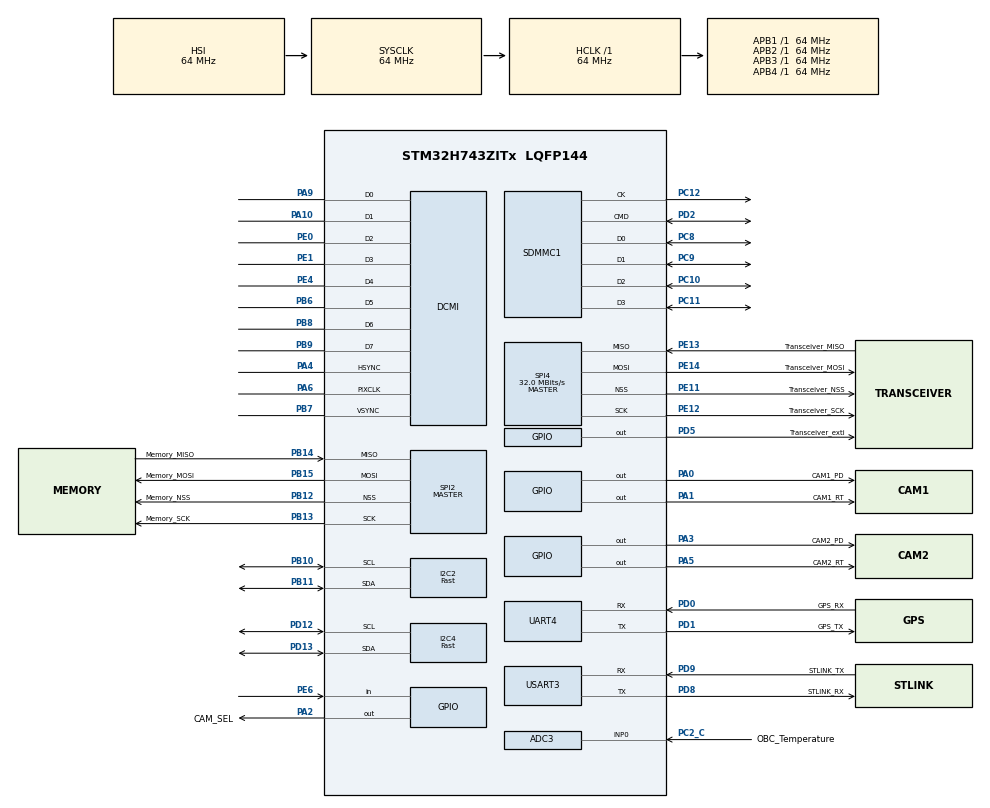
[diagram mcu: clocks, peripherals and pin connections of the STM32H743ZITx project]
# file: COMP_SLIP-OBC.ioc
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ADC3.Channel-0\#ChannelRegularConversion=ADC_CHANNEL_0
ADC3.NbrOfConversionFlag=1
ADC3.OffsetNumber-0\#ChannelRegularConversion=ADC_OFFSET_NONE
ADC3.OffsetSignedSaturation-0\#ChannelRegularConversion=DISABLE
ADC3.Rank-0\#ChannelRegularConversion=1
ADC3.SamplingTime-0\#ChannelRegularConversion=ADC_SAMPLETIME_1CYCLE_5
DCMI.JPEGMode=DCMI_JPEG_ENABLE
Dma.DCMI.0.Direction=DMA_PERIPH_TO_MEMORY
Dma.DCMI.0.EventEnable=DISABLE
Dma.DCMI.0.FIFOMode=DMA_FIFOMODE_DISABLE
Dma.DCMI.0.Instance=DMA1_Stream0
Dma.DCMI.0.MemDataAlignment=DMA_MDATAALIGN_WORD
Dma.DCMI.0.MemInc=DMA_MINC_ENABLE
Dma.DCMI.0.Mode=DMA_NORMAL
Dma.DCMI.0.PeriphDataAlignment=DMA_PDATAALIGN_WORD
Dma.DCMI.0.PeriphInc=DMA_PINC_DISABLE
Dma.DCMI.0.Polarity=HAL_DMAMUX_REQ_GEN_RISING
Dma.DCMI.0.Priority=DMA_PRIORITY_HIGH
Dma.DCMI.0.RequestNumber=1
Dma.DCMI.0.SignalID=NONE
Dma.DCMI.0.SyncEnable=DISABLE
Dma.DCMI.0.SyncPolarity=HAL_DMAMUX_SYNC_NO_EVENT
Dma.DCMI.0.SyncRequestNumber=1
Dma.DCMI.0.SyncSignalID=NONE
Dma.Request0=DCMI
FATFS.BSP.number=1
FATFS0.BSP.STBoard=false
FATFS0.BSP.api=Unknown
FATFS0.BSP.instance=PE6
FATFS0.BSP.ip=GPIO
FATFS0.BSP.mode=Input
FATFS0.BSP.name=Detect_SDIO
FATFS0.BSP.solution=PE6
FREERTOS.BinarySemaphores01=myBinarySem01,Static,myBinarySem01ControlBlock,Available
FREERTOS.Queues01=receivequeue,8,FIFOsize,0,Dynamic,NULL,NULL
FREERTOS.Tasks01=defaultTask,24,128,StartDefaultTask,Default,NULL,Dynamic,NULL,NULL
I2C2.I2C_Speed_Mode=I2C_Fast
I2C2.Timing=0x00602173
I2C4.I2C_Speed_Mode=I2C_Fast
I2C4.Timing=0x00602173
Mcu.Family=STM32H7
Mcu.Name=STM32H743ZITx
Mcu.Package=LQFP144
NVIC.DCMI_IRQn=true\:5\:0\:false\:false\:true\:true\:true\:true\:true
NVIC.DMA1_Stream0_IRQn=true\:5\:0\:false\:false\:true\:true\:false\:true\:true
NVIC.PriorityGroup=NVIC_PRIORITYGROUP_4
NVIC.SDMMC1_IRQn=true\:5\:0\:false\:false\:true\:true\:true\:true\:true
PA0.GPIO_Label=CAM1_PD
PA0.Signal=GPIO_Output
PA1.GPIO_Label=CAM1_RT
PA1.PinState=GPIO_PIN_SET
PA1.Signal=GPIO_Output
PA10.Mode=Slave_8_bits_External_Synchro
PA10.Signal=DCMI_D1
PA13\ (JTMS/SWDIO).Mode=JTAG_5_pins
PA13\ (JTMS/SWDIO).Signal=DEBUG_JTMS-SWDIO
PA14\ (JTCK/SWCLK).Mode=JTAG_5_pins
PA14\ (JTCK/SWCLK).Signal=DEBUG_JTCK-SWCLK
PA15\ (JTDI).Mode=JTAG_5_pins
PA15\ (JTDI).Signal=DEBUG_JTDI
PA2.GPIO_Label=CAM_SEL
PA2.Signal=GPIO_Output
PA3.GPIO_Label=CAM2_PD
PA3.Signal=GPIO_Output
PA4.Mode=Slave_8_bits_External_Synchro
PA4.Signal=DCMI_HSYNC
PA5.GPIO_Label=CAM2_RT
PA5.PinState=GPIO_PIN_SET
PA5.Signal=GPIO_Output
PA6.Mode=Slave_8_bits_External_Synchro
PA6.Signal=DCMI_PIXCLK
PA9.Mode=Slave_8_bits_External_Synchro
PA9.Signal=DCMI_D0
PB10.Mode=I2C
PB10.Signal=I2C2_SCL
PB11.Mode=I2C
PB11.Signal=I2C2_SDA
PB12.GPIO_Label=Memory_NSS
PB12.Mode=NSS_Signal_Hard_Output
PB12.Signal=SPI2_NSS
PB13.GPIO_Label=Memory_SCK
PB13.Mode=Full_Duplex_Master
PB13.Signal=SPI2_SCK
PB14.GPIO_Label=Memory_MISO
PB14.Mode=Full_Duplex_Master
PB14.Signal=SPI2_MISO
PB15.GPIO_Label=Memory_MOSI
PB15.Mode=Full_Duplex_Master
PB15.Signal=SPI2_MOSI
PB3\ (JTDO/TRACESWO).Mode=JTAG_5_pins
PB3\ (JTDO/TRACESWO).Signal=DEBUG_JTDO-SWO
PB4\ (NJTRST).Mode=JTAG_5_pins
PB4\ (NJTRST).Signal=DEBUG_JTRST
PB6.Mode=Slave_8_bits_External_Synchro
PB6.Signal=DCMI_D5
PB7.Mode=Slave_8_bits_External_Synchro
PB7.Signal=DCMI_VSYNC
PB8.Mode=Slave_8_bits_External_Synchro
PB8.Signal=DCMI_D6
PB9.Mode=Slave_8_bits_External_Synchro
PB9.Signal=DCMI_D7
PC10.Mode=SD_4_bits_Wide_bus
PC10.Signal=SDMMC1_D2
PC11.Mode=SD_4_bits_Wide_bus
PC11.Signal=SDMMC1_D3
PC12.Mode=SD_4_bits_Wide_bus
PC12.Signal=SDMMC1_CK
PC14-OSC32_IN\ (OSC32_IN).Mode=LSE-External-Oscillator
PC14-OSC32_IN\ (OSC32_IN).Signal=RCC_OSC32_IN
PC15-OSC32_OUT\ (OSC32_OUT).Mode=LSE-External-Oscillator
PC15-OSC32_OUT\ (OSC32_OUT).Signal=RCC_OSC32_OUT
PC2_C.GPIO_Label=OBC_Temperature
PC2_C.Mode=IN0-Single-Ended
PC2_C.Signal=ADC3_INP0
PC8.Mode=SD_4_bits_Wide_bus
PC8.Signal=SDMMC1_D0
PC9.Mode=SD_4_bits_Wide_bus
PC9.Signal=SDMMC1_D1
PD0.GPIO_Label=GPS_RX
PD0.Mode=Asynchronous
PD0.Signal=UART4_RX
PD1.GPIO_Label=GPS_TX
PD1.Mode=Asynchronous
PD1.Signal=UART4_TX
PD12.Mode=I2C
PD12.Signal=I2C4_SCL
PD13.Mode=I2C
PD13.Signal=I2C4_SDA
PD2.Mode=SD_4_bits_Wide_bus
PD2.Signal=SDMMC1_CMD
PD5.GPIO_Label=Transceiver_exti
PD5.Signal=GPIO_Output
PD8.GPIO_Label=STLINK_RX
PD8.Mode=Asynchronous
PD8.Signal=USART3_TX
PD9.GPIO_Label=STLINK_TX
PD9.Mode=Asynchronous
PD9.Signal=USART3_RX
PE0.Mode=Slave_8_bits_External_Synchro
PE0.Signal=DCMI_D2
PE1.Mode=Slave_8_bits_External_Synchro
PE1.Signal=DCMI_D3
PE11.GPIO_Label=Transceiver_NSS
PE11.Mode=NSS_Signal_Hard_Output
PE11.Signal=SPI4_NSS
PE12.GPIO_Label=Transceiver_SCK
PE12.Mode=Full_Duplex_Master
PE12.Signal=SPI4_SCK
PE13.GPIO_Label=Transceiver_MISO
PE13.Mode=Full_Duplex_Master
PE13.Signal=SPI4_MISO
PE14.GPIO_Label=Transceiver_MOSI
PE14.Mode=Full_Duplex_Master
PE14.Signal=SPI4_MOSI
PE4.Mode=Slave_8_bits_External_Synchro
PE4.Signal=DCMI_D4
PE6.Signal=GPIO_Input
PH0-OSC_IN\ (PH0).Mode=HSE-External-Oscillator
PH0-OSC_IN\ (PH0).Signal=RCC_OSC_IN
PH1-OSC_OUT\ (PH1).Mode=HSE-External-Oscillator
PH1-OSC_OUT\ (PH1).Signal=RCC_OSC_OUT
ProjectManager.HeapSize=0x400
ProjectManager.StackSize=0x800
ProjectManager.TargetToolchain=STM32CubeIDE
RCC.ADCFreq_Value=76000000
RCC.APB1Freq_Value=64000000
RCC.APB2Freq_Value=64000000
RCC.APB3Freq_Value=64000000
RCC.APB4Freq_Value=64000000
RCC.CortexFreq_Value=64000000
RCC.DIVM1=1
RCC.DIVM2=1
RCC.DIVN1=19
RCC.DIVN2=19
RCC.DIVQ1=3
RCC.HCLKFreq_Value=64000000
RCC.HSE_VALUE=8000000
RCC.PLL2FRACN=0
RCC.PLLFRACN=0
RCC.PLLSourceVirtual=RCC_PLLSOURCE_HSE
RCC.PWR_Regulator_Voltage_Scale=PWR_REGULATOR_VOLTAGE_SCALE2
RCC.SYSCLKFreq_VALUE=64000000
RCC.USBFreq_Value=50666666.666666664
SPI2.CalculateBaudRate=25.333332 MBits/s
SPI2.DataSize=SPI_DATASIZE_8BIT
SPI2.Direction=SPI_DIRECTION_2LINES
SPI2.Mode=SPI_MODE_MASTER
SPI2.VirtualNSS=VM_NSSHARD
SPI2.VirtualType=VM_MASTER
SPI4.CalculateBaudRate=32.0 MBits/s
SPI4.Direction=SPI_DIRECTION_2LINES
SPI4.Mode=SPI_MODE_MASTER
SPI4.VirtualNSS=VM_NSSHARD
SPI4.VirtualType=VM_MASTER
USART3.VirtualMode-Asynchronous=VM_ASYNC
VP_FATFS_VS_SDIO.Mode=SDIO
VP_FREERTOS_VS_CMSIS_V2.Mode=CMSIS_V2
board=NUCLEO-H743ZI2

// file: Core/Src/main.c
/* USER CODE BEGIN Header */
/**
 ******************************************************************************
 * @file           : main.c
 * @brief          : Main program body
 ******************************************************************************
 * @attention
 *
 * Copyright (c) 2025 STMicroelectronics.
 * All rights reserved.
 *
 * This software is licensed under terms that can be found in the LICENSE file
 * in the root directory of this software component.
 * If no LICENSE file comes with this software, it is provided AS-IS.
 *
 ******************************************************************************
 */
/* USER CODE END Header */
#include "main.h"
#include "cmsis_os.h"
#include "fatfs.h"

/* USER CODE BEGIN Includes */
#include "retarget.h"

/* USER CODE END Includes */

typedef StaticSemaphore_t osStaticSemaphoreDef_t;

ADC_HandleTypeDef hadc3;

DCMI_HandleTypeDef hdcmi;
DMA_HandleTypeDef hdma_dcmi;

I2C_HandleTypeDef hi2c2;
I2C_HandleTypeDef hi2c4;

SD_HandleTypeDef hsd1;

SPI_HandleTypeDef hspi2;
SPI_HandleTypeDef hspi4;

UART_HandleTypeDef huart4;
UART_HandleTypeDef huart3;

/* Definitions for defaultTask */
osThreadId_t defaultTaskHandle;
const osThreadAttr_t defaultTask_attributes = {
  .name = "defaultTask",
  .stack_size = 128 * 4,
  .priority = (osPriority_t) osPriorityNormal,
};
/* Definitions for receivequeue */
osMessageQueueId_t receivequeueHandle;
const osMessageQueueAttr_t receivequeue_attributes = {
  .name = "receivequeue"
};
/* Definitions for myBinarySem01 */
osSemaphoreId_t myBinarySem01Handle;
osStaticSemaphoreDef_t myBinarySem01ControlBlock;
const osSemaphoreAttr_t myBinarySem01_attributes = {
  .name = "myBinarySem01",
  .cb_mem = &myBinarySem01ControlBlock,
  .cb_size = sizeof(myBinarySem01ControlBlock),
};
/* USER CODE BEGIN PV */
TimerHandle_t retransmission_timer;
SemaphoreHandle_t image_mutex;
char buf[100];

/* USER CODE END PV */

void SystemClock_Config(void);
static void MX_GPIO_Init(void);
static void MX_DMA_Init(void);
static void MX_USART3_UART_Init(void);
static void MX_I2C2_Init(void);
static void MX_I2C4_Init(void);
static void MX_DCMI_Init(void);
static void MX_SDMMC1_SD_Init(void);
static void MX_ADC3_Init(void);
static void MX_UART4_Init(void);
static void MX_SPI2_Init(void);
static void MX_SPI4_Init(void);
void StartDefaultTask(void *argument);

int main(void)
{

  /* MCU Configuration--------------------------------------------------------*/

  /* Reset of all peripherals, Initializes the Flash interface and the Systick. */
  HAL_Init();

  /* Configure the system clock */
  SystemClock_Config();

  /* Initialize all configured peripherals */
  MX_GPIO_Init();
  MX_DMA_Init();
  MX_USART3_UART_Init();
  MX_I2C2_Init();
  MX_I2C4_Init();
  MX_DCMI_Init();
  MX_SDMMC1_SD_Init();
  MX_FATFS_Init();
  MX_ADC3_Init();
  MX_UART4_Init();
  MX_SPI2_Init();
  MX_SPI4_Init();
  /* USER CODE BEGIN 2 */
  RetargetInit(&huart3);

  /* USER CODE END 2 */

  /* Init scheduler */
  osKernelInitialize();

  /* Create the semaphores(s) */
  /* creation of myBinarySem01 */
  myBinarySem01Handle = osSemaphoreNew(1, 1, &myBinarySem01_attributes);

  /* USER CODE BEGIN RTOS_TIMERS */
  /* start timers, add new ones, ... */
  retransmission_timer = xTimerCreate("Retransmission timer", pdMS_TO_TICKS(ACK_RECV_TIMEOUT), pdTRUE, (void *)0, vRetransmissionTimerCallback);
  /* USER CODE END RTOS_TIMERS */

  /* Create the queue(s) */
  /* creation of receivequeue */
  receivequeueHandle = osMessageQueueNew (8, sizeof(FIFOsize), &receivequeue_attributes);

  /* Create the thread(s) */
  /* creation of defaultTask */
  defaultTaskHandle = osThreadNew(StartDefaultTask, NULL, &defaultTask_attributes);

  /* USER CODE BEGIN RTOS_THREADS */

  image_mutex = xSemaphoreCreateMutex();

  // OBC Tasks:

  xTaskCreate(obc_notifications, "OBC Notifications", configMINIMAL_STACK_SIZE, NULL, tskIDLE_PRIORITY + 1, NULL);
  xTaskCreate(data_task, "Data Task", configMINIMAL_STACK_SIZE, NULL, tskIDLE_PRIORITY + 2, NULL);
  xTaskCreate(low_power_task, "Lower Power Task", configMINIMAL_STACK_SIZE, NULL, tskIDLE_PRIORITY + 10, NULL); // Highest priority

  // TTC Tasks:

  xTaskCreate(Task_receiveLL, "TTC Receive", configMINIMAL_STACK_SIZE, NULL, tskIDLE_PRIORITY + 3, NULL);
  xTaskCreate(ttc_notifications, "TTC Notifications", configMINIMAL_STACK_SIZE, NULL, tskIDLE_PRIORITY + 2, NULL);
  xTaskCreate(receive, "High Level Receive", configMINIMAL_STACK_SIZE, NULL, tskIDLE_PRIORITY + 2, NULL);
  /* add threads, ... */
  /* USER CODE END RTOS_THREADS */

  /* Start scheduler */
  osKernelStart();

  /* We should never get here as control is now taken by the scheduler */

  /* Infinite loop */
  while (1)
  {

    /* USER CODE BEGIN 3 */
      printf("\r\nYour name: ");
      scanf("%s", buf);
      printf("\r\nHello, %s!\r\n", buf);
  }
  /* USER CODE END 3 */
}

void SystemClock_Config(void)
{
  RCC_OscInitTypeDef RCC_OscInitStruct = {0};
  RCC_ClkInitTypeDef RCC_ClkInitStruct = {0};

  /** Supply configuration update enable
  */
  HAL_PWREx_ConfigSupply(PWR_LDO_SUPPLY);

  /** Configure the main internal regulator output voltage
  */
  __HAL_PWR_VOLTAGESCALING_CONFIG(PWR_REGULATOR_VOLTAGE_SCALE2);

  while(!__HAL_PWR_GET_FLAG(PWR_FLAG_VOSRDY)) {}

  /** Initializes the RCC Oscillators according to the specified parameters
  * in the RCC_OscInitTypeDef structure.
  */
  RCC_OscInitStruct.OscillatorType = RCC_OSCILLATORTYPE_HSI|RCC_OSCILLATORTYPE_HSE;
  RCC_OscInitStruct.HSEState = RCC_HSE_ON;
  RCC_OscInitStruct.HSIState = RCC_HSI_DIV1;
  RCC_OscInitStruct.HSICalibrationValue = RCC_HSICALIBRATION_DEFAULT;
  RCC_OscInitStruct.PLL.PLLState = RCC_PLL_ON;
  RCC_OscInitStruct.PLL.PLLSource = RCC_PLLSOURCE_HSE;
  RCC_OscInitStruct.PLL.PLLM = 1;
  RCC_OscInitStruct.PLL.PLLN = 19;
  RCC_OscInitStruct.PLL.PLLP = 2;
  RCC_OscInitStruct.PLL.PLLQ = 3;
  RCC_OscInitStruct.PLL.PLLR = 2;
  RCC_OscInitStruct.PLL.PLLRGE = RCC_PLL1VCIRANGE_3;
  RCC_OscInitStruct.PLL.PLLVCOSEL = RCC_PLL1VCOMEDIUM;
  RCC_OscInitStruct.PLL.PLLFRACN = 0;
  if (HAL_RCC_OscConfig(&RCC_OscInitStruct) != HAL_OK)
  {
    Error_Handler();
  }

  /** Initializes the CPU, AHB and APB buses clocks
  */
  RCC_ClkInitStruct.ClockType = RCC_CLOCKTYPE_HCLK|RCC_CLOCKTYPE_SYSCLK
                              |RCC_CLOCKTYPE_PCLK1|RCC_CLOCKTYPE_PCLK2
                              |RCC_CLOCKTYPE_D3PCLK1|RCC_CLOCKTYPE_D1PCLK1;
  RCC_ClkInitStruct.SYSCLKSource = RCC_SYSCLKSOURCE_HSI;
  RCC_ClkInitStruct.SYSCLKDivider = RCC_SYSCLK_DIV1;
  RCC_ClkInitStruct.AHBCLKDivider = RCC_HCLK_DIV1;
  RCC_ClkInitStruct.APB3CLKDivider = RCC_APB3_DIV1;
  RCC_ClkInitStruct.APB1CLKDivider = RCC_APB1_DIV1;
  RCC_ClkInitStruct.APB2CLKDivider = RCC_APB2_DIV1;
  RCC_ClkInitStruct.APB4CLKDivider = RCC_APB4_DIV1;

  if (HAL_RCC_ClockConfig(&RCC_ClkInitStruct, FLASH_LATENCY_1) != HAL_OK)
  {
    Error_Handler();
  }
}

static void MX_ADC3_Init(void)
{

  ADC_ChannelConfTypeDef sConfig = {0};

  /** Common config
  */
  hadc3.Instance = ADC3;
  hadc3.Init.ClockPrescaler = ADC_CLOCK_ASYNC_DIV2;
  hadc3.Init.Resolution = ADC_RESOLUTION_16B;
  hadc3.Init.ScanConvMode = ADC_SCAN_DISABLE;
  hadc3.Init.EOCSelection = ADC_EOC_SINGLE_CONV;
  hadc3.Init.LowPowerAutoWait = DISABLE;
  hadc3.Init.ContinuousConvMode = DISABLE;
  hadc3.Init.NbrOfConversion = 1;
  hadc3.Init.DiscontinuousConvMode = DISABLE;
  hadc3.Init.ExternalTrigConv = ADC_SOFTWARE_START;
  hadc3.Init.ExternalTrigConvEdge = ADC_EXTERNALTRIGCONVEDGE_NONE;
  hadc3.Init.ConversionDataManagement = ADC_CONVERSIONDATA_DR;
  hadc3.Init.Overrun = ADC_OVR_DATA_PRESERVED;
  hadc3.Init.LeftBitShift = ADC_LEFTBITSHIFT_NONE;
  hadc3.Init.OversamplingMode = DISABLE;
  hadc3.Init.Oversampling.Ratio = 1;
  if (HAL_ADC_Init(&hadc3) != HAL_OK)
  {
    Error_Handler();
  }

  /** Configure Regular Channel
  */
  sConfig.Channel = ADC_CHANNEL_0;
  sConfig.Rank = ADC_REGULAR_RANK_1;
  sConfig.SamplingTime = ADC_SAMPLETIME_1CYCLE_5;
  sConfig.SingleDiff = ADC_SINGLE_ENDED;
  sConfig.OffsetNumber = ADC_OFFSET_NONE;
  sConfig.Offset = 0;
  sConfig.OffsetSignedSaturation = DISABLE;
  if (HAL_ADC_ConfigChannel(&hadc3, &sConfig) != HAL_OK)
  {
    Error_Handler();
  }

}

static void MX_DCMI_Init(void)
{

  hdcmi.Instance = DCMI;
  hdcmi.Init.SynchroMode = DCMI_SYNCHRO_HARDWARE;
  hdcmi.Init.PCKPolarity = DCMI_PCKPOLARITY_FALLING;
  hdcmi.Init.VSPolarity = DCMI_VSPOLARITY_LOW;
  hdcmi.Init.HSPolarity = DCMI_HSPOLARITY_LOW;
  hdcmi.Init.CaptureRate = DCMI_CR_ALL_FRAME;
  hdcmi.Init.ExtendedDataMode = DCMI_EXTEND_DATA_8B;
  hdcmi.Init.JPEGMode = DCMI_JPEG_ENABLE;
  hdcmi.Init.ByteSelectMode = DCMI_BSM_ALL;
  hdcmi.Init.ByteSelectStart = DCMI_OEBS_ODD;
  hdcmi.Init.LineSelectMode = DCMI_LSM_ALL;
  hdcmi.Init.LineSelectStart = DCMI_OELS_ODD;
  if (HAL_DCMI_Init(&hdcmi) != HAL_OK)
  {
    Error_Handler();
  }

}

static void MX_I2C2_Init(void)
{

  hi2c2.Instance = I2C2;
  hi2c2.Init.Timing = 0x00602173;
  hi2c2.Init.OwnAddress1 = 0;
  hi2c2.Init.AddressingMode = I2C_ADDRESSINGMODE_7BIT;
  hi2c2.Init.DualAddressMode = I2C_DUALADDRESS_DISABLE;
  hi2c2.Init.OwnAddress2 = 0;
  hi2c2.Init.OwnAddress2Masks = I2C_OA2_NOMASK;
  hi2c2.Init.GeneralCallMode = I2C_GENERALCALL_DISABLE;
  hi2c2.Init.NoStretchMode = I2C_NOSTRETCH_DISABLE;
  if (HAL_I2C_Init(&hi2c2) != HAL_OK)
  {
    Error_Handler();
  }

  /** Configure Analogue filter
  */
  if (HAL_I2CEx_ConfigAnalogFilter(&hi2c2, I2C_ANALOGFILTER_ENABLE) != HAL_OK)
  {
    Error_Handler();
  }

  /** Configure Digital filter
  */
  if (HAL_I2CEx_ConfigDigitalFilter(&hi2c2, 0) != HAL_OK)
  {
    Error_Handler();
  }

}

static void MX_I2C4_Init(void)
{

  hi2c4.Instance = I2C4;
  hi2c4.Init.Timing = 0x00602173;
  hi2c4.Init.OwnAddress1 = 0;
  hi2c4.Init.AddressingMode = I2C_ADDRESSINGMODE_7BIT;
  hi2c4.Init.DualAddressMode = I2C_DUALADDRESS_DISABLE;
  hi2c4.Init.OwnAddress2 = 0;
  hi2c4.Init.OwnAddress2Masks = I2C_OA2_NOMASK;
  hi2c4.Init.GeneralCallMode = I2C_GENERALCALL_DISABLE;
  hi2c4.Init.NoStretchMode = I2C_NOSTRETCH_DISABLE;
  if (HAL_I2C_Init(&hi2c4) != HAL_OK)
  {
    Error_Handler();
  }

  /** Configure Analogue filter
  */
  if (HAL_I2CEx_ConfigAnalogFilter(&hi2c4, I2C_ANALOGFILTER_ENABLE) != HAL_OK)
  {
    Error_Handler();
  }

  /** Configure Digital filter
  */
  if (HAL_I2CEx_ConfigDigitalFilter(&hi2c4, 0) != HAL_OK)
  {
    Error_Handler();
  }

}

static void MX_SDMMC1_SD_Init(void)
{

  hsd1.Instance = SDMMC1;
  hsd1.Init.ClockEdge = SDMMC_CLOCK_EDGE_RISING;
  hsd1.Init.ClockPowerSave = SDMMC_CLOCK_POWER_SAVE_DISABLE;
  hsd1.Init.BusWide = SDMMC_BUS_WIDE_4B;
  hsd1.Init.HardwareFlowControl = SDMMC_HARDWARE_FLOW_CONTROL_DISABLE;
  hsd1.Init.ClockDiv = 0;
  if (HAL_SD_Init(&hsd1) != HAL_OK)
  {
    Error_Handler();
  }

}

static void MX_SPI2_Init(void)
{

  /* SPI2 parameter configuration*/
  hspi2.Instance = SPI2;
  hspi2.Init.Mode = SPI_MODE_MASTER;
  hspi2.Init.Direction = SPI_DIRECTION_2LINES;
  hspi2.Init.DataSize = SPI_DATASIZE_8BIT;
  hspi2.Init.CLKPolarity = SPI_POLARITY_LOW;
  hspi2.Init.CLKPhase = SPI_PHASE_1EDGE;
  hspi2.Init.NSS = SPI_NSS_HARD_OUTPUT;
  hspi2.Init.BaudRatePrescaler = SPI_BAUDRATEPRESCALER_2;
  hspi2.Init.FirstBit = SPI_FIRSTBIT_MSB;
  hspi2.Init.TIMode = SPI_TIMODE_DISABLE;
  hspi2.Init.CRCCalculation = SPI_CRCCALCULATION_DISABLE;
  hspi2.Init.CRCPolynomial = 0x0;
  hspi2.Init.NSSPMode = SPI_NSS_PULSE_ENABLE;
  hspi2.Init.NSSPolarity = SPI_NSS_POLARITY_LOW;
  hspi2.Init.FifoThreshold = SPI_FIFO_THRESHOLD_01DATA;
  hspi2.Init.TxCRCInitializationPattern = SPI_CRC_INITIALIZATION_ALL_ZERO_PATTERN;
  hspi2.Init.RxCRCInitializationPattern = SPI_CRC_INITIALIZATION_ALL_ZERO_PATTERN;
  hspi2.Init.MasterSSIdleness = SPI_MASTER_SS_IDLENESS_00CYCLE;
  hspi2.Init.MasterInterDataIdleness = SPI_MASTER_INTERDATA_IDLENESS_00CYCLE;
  hspi2.Init.MasterReceiverAutoSusp = SPI_MASTER_RX_AUTOSUSP_DISABLE;
  hspi2.Init.MasterKeepIOState = SPI_MASTER_KEEP_IO_STATE_DISABLE;
  hspi2.Init.IOSwap = SPI_IO_SWAP_DISABLE;
  if (HAL_SPI_Init(&hspi2) != HAL_OK)
  {
    Error_Handler();
  }

}

static void MX_SPI4_Init(void)
{

  /* SPI4 parameter configuration*/
  hspi4.Instance = SPI4;
  hspi4.Init.Mode = SPI_MODE_MASTER;
  hspi4.Init.Direction = SPI_DIRECTION_2LINES;
  hspi4.Init.DataSize = SPI_DATASIZE_4BIT;
  hspi4.Init.CLKPolarity = SPI_POLARITY_LOW;
  hspi4.Init.CLKPhase = SPI_PHASE_1EDGE;
  hspi4.Init.NSS = SPI_NSS_HARD_OUTPUT;
  hspi4.Init.BaudRatePrescaler = SPI_BAUDRATEPRESCALER_2;
  hspi4.Init.FirstBit = SPI_FIRSTBIT_MSB;
  hspi4.Init.TIMode = SPI_TIMODE_DISABLE;
  hspi4.Init.CRCCalculation = SPI_CRCCALCULATION_DISABLE;
  hspi4.Init.CRCPolynomial = 0x0;
  hspi4.Init.NSSPMode = SPI_NSS_PULSE_ENABLE;
  hspi4.Init.NSSPolarity = SPI_NSS_POLARITY_LOW;
  hspi4.Init.FifoThreshold = SPI_FIFO_THRESHOLD_01DATA;
  hspi4.Init.TxCRCInitializationPattern = SPI_CRC_INITIALIZATION_ALL_ZERO_PATTERN;
  hspi4.Init.RxCRCInitializationPattern = SPI_CRC_INITIALIZATION_ALL_ZERO_PATTERN;
  hspi4.Init.MasterSSIdleness = SPI_MASTER_SS_IDLENESS_00CYCLE;
  hspi4.Init.MasterInterDataIdleness = SPI_MASTER_INTERDATA_IDLENESS_00CYCLE;
  hspi4.Init.MasterReceiverAutoSusp = SPI_MASTER_RX_AUTOSUSP_DISABLE;
  hspi4.Init.MasterKeepIOState = SPI_MASTER_KEEP_IO_STATE_DISABLE;
  hspi4.Init.IOSwap = SPI_IO_SWAP_DISABLE;
  if (HAL_SPI_Init(&hspi4) != HAL_OK)
  {
    Error_Handler();
  }

}

static void MX_UART4_Init(void)
{

  huart4.Instance = UART4;
  huart4.Init.BaudRate = 115200;
  huart4.Init.WordLength = UART_WORDLENGTH_8B;
  huart4.Init.StopBits = UART_STOPBITS_1;
  huart4.Init.Parity = UART_PARITY_NONE;
  huart4.Init.Mode = UART_MODE_TX_RX;
  huart4.Init.HwFlowCtl = UART_HWCONTROL_NONE;
  huart4.Init.OverSampling = UART_OVERSAMPLING_16;
  huart4.Init.OneBitSampling = UART_ONE_BIT_SAMPLE_DISABLE;
  huart4.Init.ClockPrescaler = UART_PRESCALER_DIV1;
  huart4.AdvancedInit.AdvFeatureInit = UART_ADVFEATURE_NO_INIT;
  if (HAL_UART_Init(&huart4) != HAL_OK)
  {
    Error_Handler();
  }
  if (HAL_UARTEx_SetTxFifoThreshold(&huart4, UART_TXFIFO_THRESHOLD_1_8) != HAL_OK)
  {
    Error_Handler();
  }
  if (HAL_UARTEx_SetRxFifoThreshold(&huart4, UART_RXFIFO_THRESHOLD_1_8) != HAL_OK)
  {
    Error_Handler();
  }
  if (HAL_UARTEx_DisableFifoMode(&huart4) != HAL_OK)
  {
    Error_Handler();
  }

}

static void MX_USART3_UART_Init(void)
{

  huart3.Instance = USART3;
  huart3.Init.BaudRate = 115200;
  huart3.Init.WordLength = UART_WORDLENGTH_8B;
  huart3.Init.StopBits = UART_STOPBITS_1;
  huart3.Init.Parity = UART_PARITY_NONE;
  huart3.Init.Mode = UART_MODE_TX_RX;
  huart3.Init.HwFlowCtl = UART_HWCONTROL_NONE;
  huart3.Init.OverSampling = UART_OVERSAMPLING_16;
  huart3.Init.OneBitSampling = UART_ONE_BIT_SAMPLE_DISABLE;
  huart3.Init.ClockPrescaler = UART_PRESCALER_DIV1;
  huart3.AdvancedInit.AdvFeatureInit = UART_ADVFEATURE_NO_INIT;
  if (HAL_UART_Init(&huart3) != HAL_OK)
  {
    Error_Handler();
  }
  if (HAL_UARTEx_SetTxFifoThreshold(&huart3, UART_TXFIFO_THRESHOLD_1_8) != HAL_OK)
  {
    Error_Handler();
  }
  if (HAL_UARTEx_SetRxFifoThreshold(&huart3, UART_RXFIFO_THRESHOLD_1_8) != HAL_OK)
  {
    Error_Handler();
  }
  if (HAL_UARTEx_DisableFifoMode(&huart3) != HAL_OK)
  {
    Error_Handler();
  }

}

static void MX_DMA_Init(void)
{

  /* DMA controller clock enable */
  __HAL_RCC_DMA1_CLK_ENABLE();

  /* DMA interrupt init */
  /* DMA1_Stream0_IRQn interrupt configuration */
  HAL_NVIC_SetPriority(DMA1_Stream0_IRQn, 5, 0);
  HAL_NVIC_EnableIRQ(DMA1_Stream0_IRQn);

}

static void MX_GPIO_Init(void)
{
  GPIO_InitTypeDef GPIO_InitStruct = {0};
  /* USER CODE BEGIN MX_GPIO_Init_1 */

  /*Configure GPIO pin : Transceiver_exti_Pin */
  GPIO_InitStruct.Pin = Transceiver_exti_Pin;
  GPIO_InitStruct.Mode = GPIO_MODE_IT_RISING;      // Keep as interrupt
  GPIO_InitStruct.Pull = GPIO_NOPULL;
  HAL_GPIO_Init(Transceiver_exti_GPIO_Port, &GPIO_InitStruct);
  GPIO_InitStruct.Pin = Transceiver_exti_Pin;

  /*Configure GPIO pin : USB_OTG_FS_PWR_EN_Pin */
  //GPIO_InitStruct.Pin = USB_OTG_FS_PWR_EN_Pin; // Should we keep?
  GPIO_InitStruct.Mode = GPIO_MODE_OUTPUT_PP;
  GPIO_InitStruct.Pull = GPIO_NOPULL;
  GPIO_InitStruct.Speed = GPIO_SPEED_FREQ_LOW;

  // Keep?
  //HAL_GPIO_Init(USB_OTG_FS_PWR_EN_GPIO_Port, &GPIO_InitStruct); // Should we keep?

  // May not need these!
  /*Configure GPIO pin : USB_OTG_FS_OVCR_Pin */

  //GPIO_InitStruct.Pin = USB_OTG_FS_OVCR_Pin;
  //GPIO_InitStruct.Mode = GPIO_MODE_IT_RISING;
  //GPIO_InitStruct.Pull = GPIO_NOPULL;
  //HAL_GPIO_Init(USB_OTG_FS_OVCR_GPIO_Port, &GPIO_InitStruct);

  /*Configure GPIO pins : PG11 PG13 */
  GPIO_InitStruct.Pin = GPIO_PIN_11 | GPIO_PIN_13;
  GPIO_InitStruct.Mode = GPIO_MODE_AF_PP;
  GPIO_InitStruct.Pull = GPIO_NOPULL;
  GPIO_InitStruct.Speed = GPIO_SPEED_FREQ_LOW;
  GPIO_InitStruct.Alternate = GPIO_AF11_ETH;
  HAL_GPIO_Init(GPIOG, &GPIO_InitStruct);

  /* EXTI interrupt init */
  HAL_NVIC_SetPriority(EXTI15_10_IRQn, 5, 0);
  HAL_NVIC_EnableIRQ(EXTI15_10_IRQn);

  /* USER CODE END MX_GPIO_Init_1 */

  /* GPIO Ports Clock Enable */
  __HAL_RCC_GPIOE_CLK_ENABLE();
  __HAL_RCC_GPIOC_CLK_ENABLE();
  __HAL_RCC_GPIOH_CLK_ENABLE();
  __HAL_RCC_GPIOA_CLK_ENABLE();
  __HAL_RCC_GPIOB_CLK_ENABLE();
  __HAL_RCC_GPIOD_CLK_ENABLE();

  /*Configure GPIO pin Output Level */
  HAL_GPIO_WritePin(GPIOA, CAM1_PD_Pin|CAM_SEL_Pin|CAM2_PD_Pin, GPIO_PIN_RESET);

  /*Configure GPIO pin Output Level */
  HAL_GPIO_WritePin(GPIOA, CAM1_RT_Pin|CAM2_RT_Pin, GPIO_PIN_SET);

  /*Configure GPIO pin Output Level */
  HAL_GPIO_WritePin(Transceiver_exti_GPIO_Port, Transceiver_exti_Pin, GPIO_PIN_RESET);

  /*Configure GPIO pin : PE6 */
  GPIO_InitStruct.Pin = GPIO_PIN_6;
  GPIO_InitStruct.Mode = GPIO_MODE_INPUT;
  GPIO_InitStruct.Pull = GPIO_NOPULL;
  HAL_GPIO_Init(GPIOE, &GPIO_InitStruct);

  /*Configure GPIO pins : CAM1_PD_Pin CAM1_RT_Pin CAM_SEL_Pin CAM2_PD_Pin
                           CAM2_RT_Pin */
  GPIO_InitStruct.Pin = CAM1_PD_Pin|CAM1_RT_Pin|CAM_SEL_Pin|CAM2_PD_Pin
                          |CAM2_RT_Pin;
  GPIO_InitStruct.Mode = GPIO_MODE_OUTPUT_PP;
  GPIO_InitStruct.Pull = GPIO_NOPULL;
  GPIO_InitStruct.Speed = GPIO_SPEED_FREQ_LOW;
  HAL_GPIO_Init(GPIOA, &GPIO_InitStruct);

  /*Configure GPIO pin : Transceiver_exti_Pin */
  GPIO_InitStruct.Pin = Transceiver_exti_Pin;
  GPIO_InitStruct.Mode = GPIO_MODE_OUTPUT_PP;
  GPIO_InitStruct.Pull = GPIO_NOPULL;
  GPIO_InitStruct.Speed = GPIO_SPEED_FREQ_LOW;
  HAL_GPIO_Init(Transceiver_exti_GPIO_Port, &GPIO_InitStruct);

  /*AnalogSwitch Config */
  HAL_SYSCFG_AnalogSwitchConfig(SYSCFG_SWITCH_PA0, SYSCFG_SWITCH_PA0_CLOSE);

  /*AnalogSwitch Config */
  HAL_SYSCFG_AnalogSwitchConfig(SYSCFG_SWITCH_PA1, SYSCFG_SWITCH_PA1_CLOSE);

}

void StartDefaultTask(void *argument)
{
  for(;;)
  {
    osDelay(1);
  }
}

void Error_Handler(void)
{
  __disable_irq();
  while (1)
  {
  }
}

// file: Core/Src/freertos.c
/* USER CODE BEGIN Header */
/**
  ******************************************************************************
  * File Name          : freertos.c
  * Description        : Code for freertos applications
  ******************************************************************************
  * @attention
  *
  * Copyright (c) 2025 STMicroelectronics.
  * All rights reserved.
  *
  * This software is licensed under terms that can be found in the LICENSE file
  * in the root directory of this software component.
  * If no LICENSE file comes with this software, it is provided AS-IS.
  *
  ******************************************************************************
  */
/* USER CODE END Header */

#include "FreeRTOS.h"
#include "task.h"
#include "main.h"
#include "cmsis_os.h"
#include "ttc_interface.h"

typedef StaticSemaphore_t osStaticSemaphoreDef_t;

/* Definitions for defaultTask */
osThreadId_t defaultTaskHandle;
const osThreadAttr_t defaultTask_attributes = {
  .name = "defaultTask",
  .stack_size = 128 * 4,
  .priority = (osPriority_t) osPriorityNormal,
};
/* Definitions for receivequeue */
osMessageQueueId_t receivequeueHandle;
const osMessageQueueAttr_t receivequeue_attributes = {
  .name = "receivequeue"
};
/* Definitions for myBinarySem01 */
osSemaphoreId_t myBinarySem01Handle;
osStaticSemaphoreDef_t myBinarySem01ControlBlock;
const osSemaphoreAttr_t myBinarySem01_attributes = {
  .name = "myBinarySem01",
  .cb_mem = &myBinarySem01ControlBlock,
  .cb_size = sizeof(myBinarySem01ControlBlock),
};

void StartDefaultTask(void *argument);

void MX_FREERTOS_Init(void); /* (MISRA C 2004 rule 8.1) */

void MX_FREERTOS_Init(void) {

  /* Create the semaphores(s) */
  /* creation of myBinarySem01 */
  myBinarySem01Handle = osSemaphoreNew(1, 1, &myBinarySem01_attributes);

  /* Create the queue(s) */
  /* creation of receivequeue */
  receivequeueHandle = osMessageQueueNew (8, sizeof(FIFOsize), &receivequeue_attributes);

  /* Create the thread(s) */
  /* creation of defaultTask */
  defaultTaskHandle = osThreadNew(StartDefaultTask, NULL, &defaultTask_attributes);

}

void StartDefaultTask(void *argument)
{
  for(;;)
  {
    osDelay(1);
  }
}
